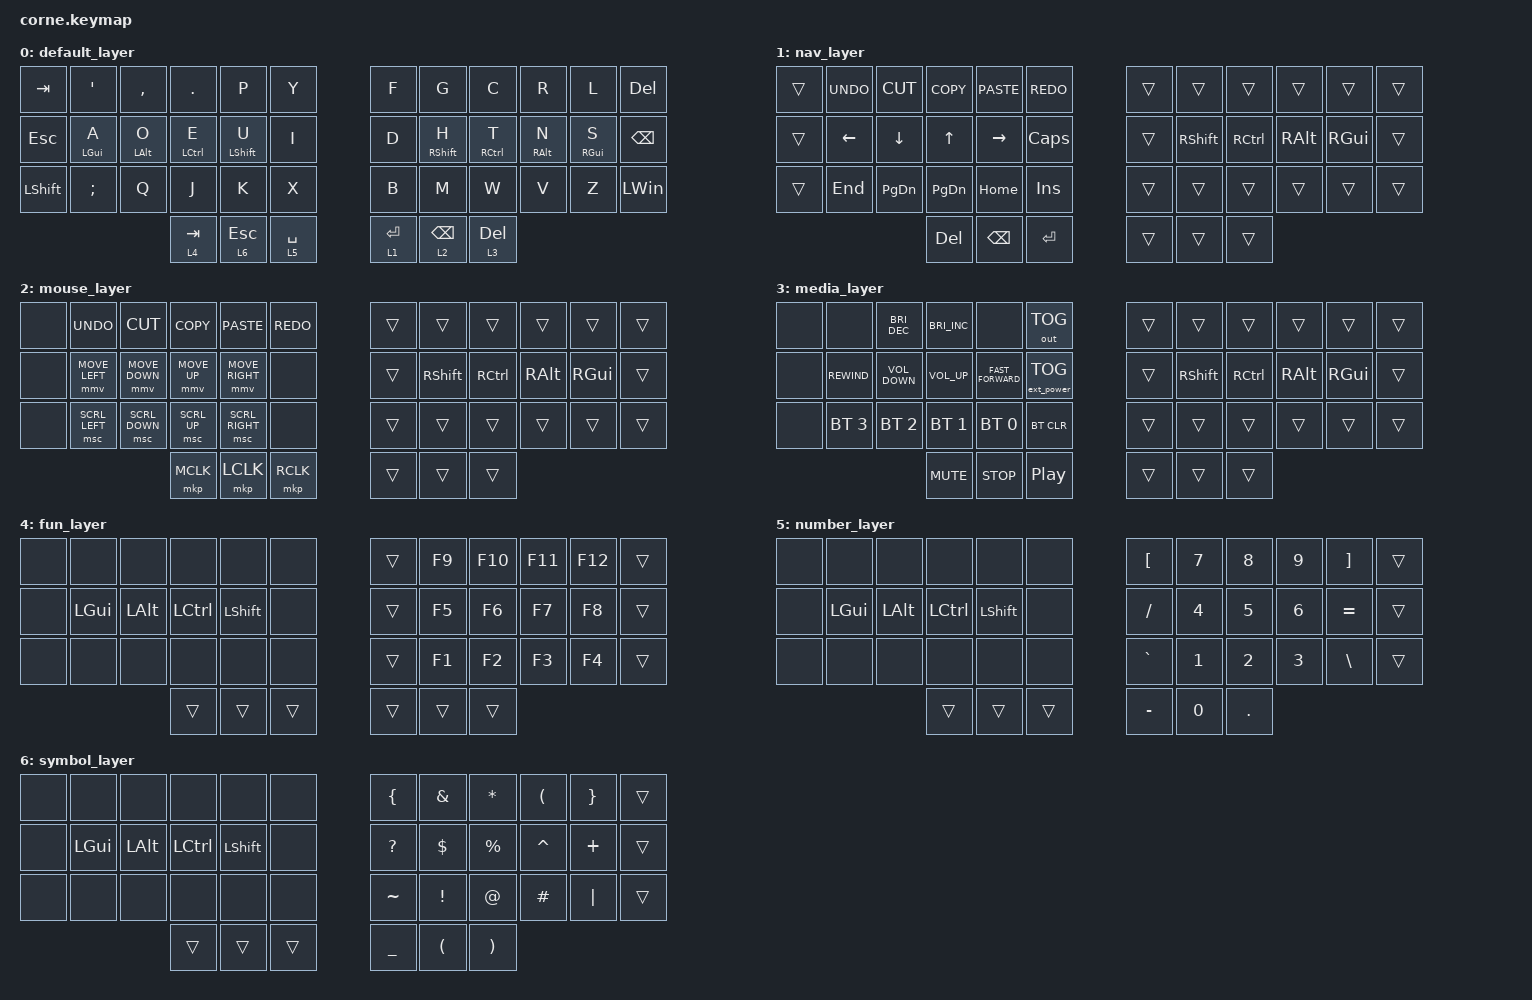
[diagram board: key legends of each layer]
/*
 * Copyright (c) 2020 The ZMK Contributors
 *
 * SPDX-License-Identifier: MIT
 */

#include <behaviors.dtsi>
#include <dt-bindings/zmk/bt.h>
#include <dt-bindings/zmk/ext_power.h>
#include <dt-bindings/zmk/keys.h>
#include <dt-bindings/zmk/outputs.h>
#include <dt-bindings/zmk/pointing.h>

/ {
    behaviors {
        hml: home_row_mod_left {
            compatible = "zmk,behavior-hold-tap";
            #binding-cells = <2>;
            flavor = "balanced";
            require-prior-idle-ms = <150>;
            tapping-term-ms = <210>;
            quick-tap-ms = <175>;
            bindings = <&kp>, <&kp>;

            hold-trigger-key-positions = <13 14 15 16>; // List of keys on the right side of the keyboard
            hold-trigger-on-release;
        };

        hmr: home_row_mod_right {
            compatible = "zmk,behavior-hold-tap";
            #binding-cells = <2>;
            flavor = "balanced";
            require-prior-idle-ms = <150>;
            tapping-term-ms = <210>;
            quick-tap-ms = <175>;
            bindings = <&kp>, <&kp>;

            hold-trigger-key-positions = <19 20 21 22>; // List of keys on the left side of the keyboard
            hold-trigger-on-release;
        };
    };
};

/ {
    combos {
        compatible = "zmk,combos";

        combos_lpar {
            bindings = <&kp LPAR>;
            key-positions = <4 5>;
        };

        combos_rpar {
            bindings = <&kp RPAR>;
            key-positions = <6 7>;
        };

        combos_lbrk {
            bindings = <&kp LBKT>;
            key-positions = <16 17>;
        };

        combos_rbkt {
            bindings = <&kp RBKT>;
            key-positions = <18 19>;
        };

        combos_lbrc {
            bindings = <&kp LBRC>;
            key-positions = <28 29>;
        };

        combos_rbrc {
            bindings = <&kp RBRC>;
            key-positions = <30 31>;
        };

        combos_esc1 {
            bindings = <&kp ESC>;
            key-positions = <16 15>;
        };

        combos_esc2 {
            bindings = <&kp ESC>;
            key-positions = <19 20>;
        };

        combos_tab1 {
            bindings = <&kp TAB>;
            key-positions = <3 4>;
        };

        combos_tab2 {
            bindings = <&kp TAB>;
            key-positions = <7 8>;
        };
    };

    keymap {
        compatible = "zmk,keymap";

        default_layer {
            bindings = <
&kp TAB    &kp SQT      &kp COMMA    &kp DOT       &kp P         &kp Y          &kp F      &kp G            &kp C         &kp R        &kp L        &kp DEL
&kp ESC    &hml LGUI A  &hml LALT O  &hml LCTRL E  &hml LSHFT U  &kp I          &kp D      &hmr RSHFT H     &hmr RCTRL T  &hmr RALT N  &hmr RGUI S  &kp BSPC
&kp LSHFT  &kp SEMI     &kp Q        &kp J         &kp K         &kp X          &kp B      &kp M            &kp W         &kp V        &kp Z        &kp LWIN
                                     &lt 4 TAB     &lt 6 ESC     &lt 5 SPACE    &lt 1 RET  &lt 2 BACKSPACE  &lt 3 DELETE
            >;
        };

        nav_layer {
            bindings = <
&trans  &kp K_UNDO  &kp K_CUT       &kp K_COPY     &kp K_PASTE      &kp K_REDO      &trans  &trans     &trans     &trans    &trans    &trans
&trans  &kp LEFT    &kp DOWN_ARROW  &kp UP_ARROW   &kp RIGHT_ARROW  &kp CAPSLOCK    &trans  &kp RSHFT  &kp RCTRL  &kp RALT  &kp RGUI  &trans
&trans  &kp END     &kp PAGE_DOWN   &kp PAGE_DOWN  &kp HOME         &kp INSERT      &trans  &trans     &trans     &trans    &trans    &trans
                                    &kp DELETE     &kp BACKSPACE    &kp ENTER       &trans  &trans     &trans
            >;
        };

        mouse_layer {
            bindings = <
&none  &kp K_UNDO      &kp K_CUT       &kp K_COPY    &kp K_PASTE      &kp K_REDO    &trans  &trans     &trans     &trans    &trans    &trans
&none  &mmv MOVE_LEFT  &mmv MOVE_DOWN  &mmv MOVE_UP  &mmv MOVE_RIGHT  &none         &trans  &kp RSHFT  &kp RCTRL  &kp RALT  &kp RGUI  &trans
&none  &msc SCRL_LEFT  &msc SCRL_DOWN  &msc SCRL_UP  &msc SCRL_RIGHT  &none         &trans  &trans     &trans     &trans    &trans    &trans
                                       &mkp MCLK     &mkp LCLK        &mkp RCLK     &trans  &trans     &trans
            >;
        };

        media_layer {
            bindings = <
&none  &none         &kp C_BRI_DEC      &kp C_BRI_INC    &none               &out OUT_TOG         &trans  &trans     &trans     &trans    &trans    &trans
&none  &kp C_REWIND  &kp C_VOLUME_DOWN  &kp C_VOLUME_UP  &kp C_FAST_FORWARD  &ext_power EP_TOG    &trans  &kp RSHFT  &kp RCTRL  &kp RALT  &kp RGUI  &trans
&none  &bt BT_SEL 3  &bt BT_SEL 2       &bt BT_SEL 1     &bt BT_SEL 0        &bt BT_CLR           &trans  &trans     &trans     &trans    &trans    &trans
                                        &kp K_MUTE       &kp C_STOP          &kp C_PLAY_PAUSE     &trans  &trans     &trans
            >;
        };

        fun_layer {
            bindings = <
&none  &none     &none     &none      &none      &none     &trans  &kp F9  &kp F10  &kp F11  &kp F12  &trans
&none  &kp LGUI  &kp LALT  &kp LCTRL  &kp LSHFT  &none     &trans  &kp F5  &kp F6   &kp F7   &kp F8   &trans
&none  &none     &none     &none      &none      &none     &trans  &kp F1  &kp F2   &kp F3   &kp F4   &trans
                           &trans     &trans     &trans    &trans  &trans  &trans
            >;
        };

        number_layer {
            bindings = <
&none  &none     &none     &none      &none      &none     &kp LBKT   &kp N7        &kp N8      &kp N9  &kp RIGHT_BRACKET  &trans
&none  &kp LGUI  &kp LALT  &kp LCTRL  &kp LSHFT  &none     &kp SLASH  &kp N4        &kp N5      &kp N6  &kp EQUAL          &trans
&none  &none     &none     &none      &none      &none     &kp GRAVE  &kp NUMBER_1  &kp N2      &kp N3  &kp BACKSLASH      &trans
                           &trans     &trans     &trans    &kp MINUS  &kp N0        &kp PERIOD
            >;
        };

        symbol_layer {
            bindings = <
&none  &none     &none     &none      &none      &none     &kp LBRC        &kp AMPERSAND         &kp ASTERISK           &kp LEFT_PARENTHESIS  &kp RBRC  &trans
&none  &kp LGUI  &kp LALT  &kp LCTRL  &kp LSHFT  &none     &kp QUESTION    &kp DOLLAR            &kp PERCENT            &kp CARET             &kp PLUS  &trans
&none  &none     &none     &none      &none      &none     &kp TILDE       &kp EXCLAMATION       &kp AT_SIGN            &kp HASH              &kp PIPE  &trans
                           &trans     &trans     &trans    &kp UNDERSCORE  &kp LEFT_PARENTHESIS  &kp RIGHT_PARENTHESIS
            >;
        };
    };
};
